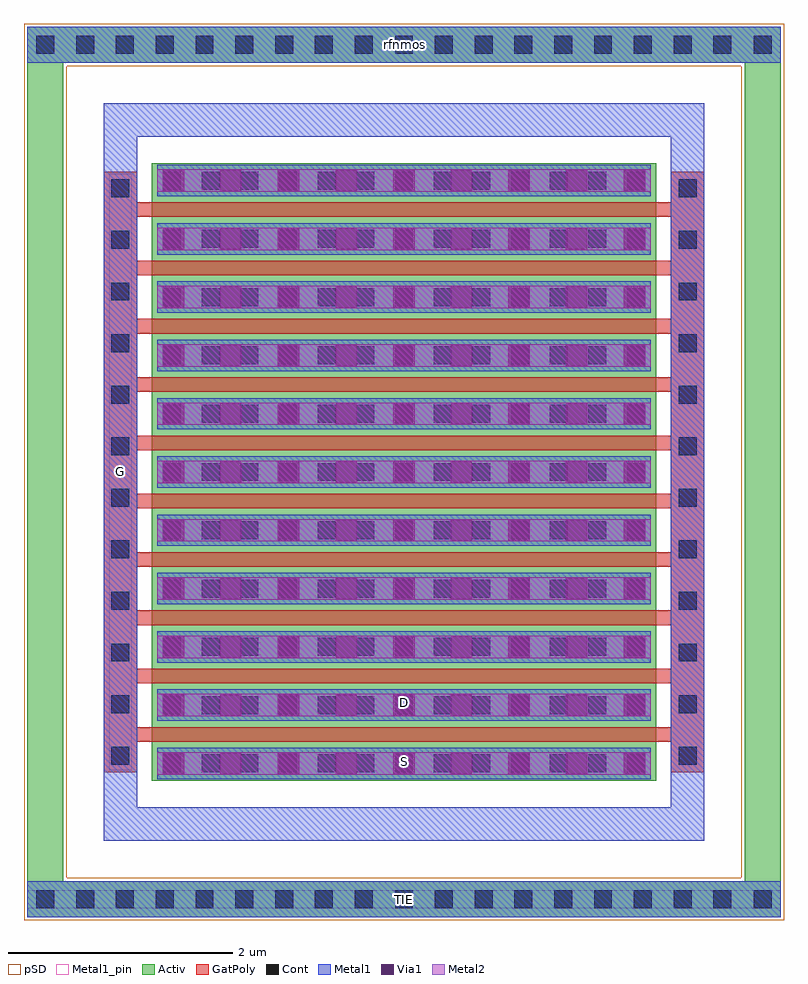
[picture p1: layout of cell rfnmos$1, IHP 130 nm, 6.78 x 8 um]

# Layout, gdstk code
import gdstk
lib = gdstk.Library(unit=1e-6, precision=5e-09)
def R(c, l, rs):  # rectangles x0, y0, x1, y1
    for r in rs: c.add(gdstk.rectangle(r[:2], r[2:], *l))
def A(c, l, x, y, w, h, nx, ny, dx, dy):  # array of equal rectangles
    R(c, l, [(x+i*dx, y+j*dy, x+i*dx+w, y+j*dy+h) for i in range(nx) for j in range(ny)])
def P(c, l, *ps):  # polygons
    for p in ps: c.add(gdstk.Polygon(p, *l))
Activ = (1, 0)
GatPoly = (5, 0)
Cont = (6, 0)
Metal1 = (8, 0)
Metal1_pin = (8, 2)
Metal2 = (10, 0)
pSD = (14, 0)
Via1 = (19, 0)

rfnmos_1 = lib.new_cell('rfnmos$1')
R(rfnmos_1, Activ, [(1.14,1.245,5.64,6.755)])
P(rfnmos_1, Activ, [(0.03,0.03),(0.03,7.65),(0.35,7.65),(0.35,0.35),(6.43,0.35),(6.43,7.65),(0.03,7.65),(0.03,7.97),(6.75,7.97),(6.75,0.03)])
A(rfnmos_1, GatPoly, 1.01, 1.595, 4.76, 0.13, 1, 10, 0, 0.52)
R(rfnmos_1, GatPoly, [(0.71,1.32,1.01,6.68), (5.77,1.32,6.07,6.68)])
A(rfnmos_1, Cont, 0.11, 0.11, 0.16, 0.16, 9, 2, 0.355, 7.62)
A(rfnmos_1, Cont, 3.31, 0.11, 0.16, 0.16, 9, 2, 0.355, 7.62)
A(rfnmos_1, Cont, 1.24, 1.32, 0.16, 0.16, 13, 11, 0.345, 0.52)
A(rfnmos_1, Cont, 0.78, 1.39, 0.16, 0.16, 1, 12, 0, 0.46)
A(rfnmos_1, Cont, 5.84, 1.39, 0.16, 0.16, 1, 12, 0, 0.46)
R(rfnmos_1, Cont, [(6.51,0.11,6.67,0.27), (6.51,7.73,6.67,7.89)])
A(rfnmos_1, Metal1, 1.19, 1.26, 4.4, 0.28, 1, 11, 0, 0.52)
R(rfnmos_1, Metal1, [(0.03,0.03,6.75,0.35), (0.76,1.34,0.96,6.66), (5.82,1.34,6.02,6.66), (0.03,7.65,6.75,7.97)])
P(rfnmos_1, Metal1, [(0.71,0.71),(0.71,6.99),(1.01,6.99),(1.01,1.01),(5.77,1.01),(5.77,6.99),(0.71,6.99),(0.71,7.29),(6.07,7.29),(6.07,0.71)])
R(rfnmos_1, Metal1_pin, [(0.03,0.11,6.75,0.27), (0.03,0.11,6.75,0.27), (1.19,1.26,5.59,1.54), (1.19,1.26,5.59,1.54), (0.76,1.34,0.96,6.66), (0.76,1.34,0.96,6.66), (1.19,1.78,5.59,2.06), (1.19,1.78,5.59,2.06)])
A(rfnmos_1, Metal2, 1.19, 1.3, 4.4, 0.2, 1, 11, 0, 0.52)
P(rfnmos_1, pSD, [(0,0),(0,7.62),(0.38,7.62),(0.38,0.38),(6.4,0.38),(6.4,7.62),(0,7.62),(0,8),(6.78,8),(6.78,0)])
A(rfnmos_1, Via1, 1.24, 1.305, 0.19, 0.19, 1, 11, 0, 0.52)
A(rfnmos_1, Via1, 1.75, 1.305, 0.19, 0.19, 4, 11, 0.515, 0.52)
A(rfnmos_1, Via1, 3.805, 1.305, 0.19, 0.19, 4, 11, 0.515, 0.52)
rfnmos_1.add(gdstk.Label('S', (3.39,1.42), layer=63, texttype=0))
rfnmos_1.add(gdstk.Label('D', (3.39,1.94), layer=63, texttype=0))
rfnmos_1.add(gdstk.Label('G', (0.86,4), layer=63, texttype=0))
rfnmos_1.add(gdstk.Label('TIE', (3.39,0.19), layer=63, texttype=0))
rfnmos_1.add(gdstk.Label('rfnmos', (3.39,7.81), layer=63, texttype=0))

lib.write_gds('rfnmos_1.gds')
